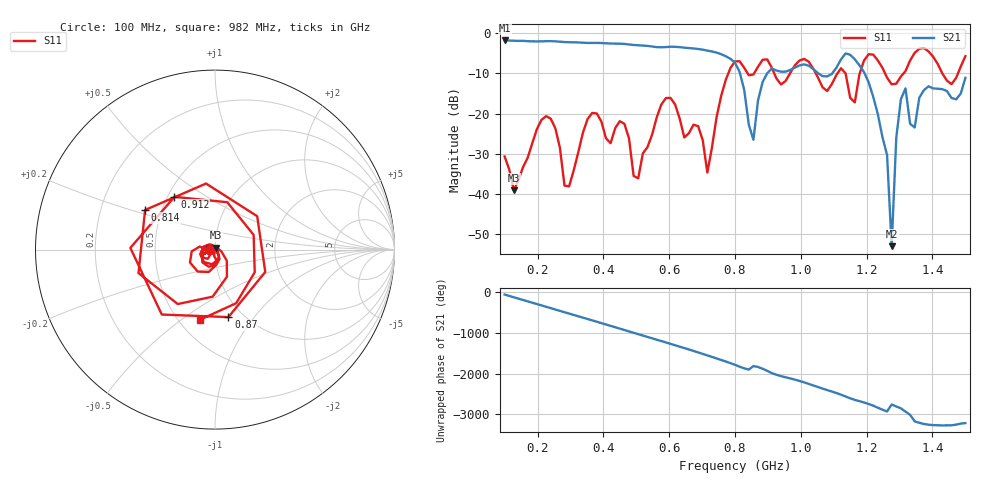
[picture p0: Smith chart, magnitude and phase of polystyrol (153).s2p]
! NanoVNA-App
! Date: 2025-09-25 15:31:05
! Start: 100MHz Stop: 1,5GHz Points: 101
! S-Parameter data: F S11 S21 S12 S22
# Hz S RI R 50
!  Frequency  S11_Real  S11_Imag  S21_Real  S21_Imag  S12_Real  S12_Imag  S22_Real  S22_Imag
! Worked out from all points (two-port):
!   101 points, 100 MHz to 1.5 GHz, reference 50 ohm
!   highest |S21| = -1.80 dB at 100 MHz (marker M1); lowest = -53.0 dB at 1.276 GHz (marker M2)
!   |S21| within 3 dB of the highest: start of sweep to 743 MHz
!   lowest |S11| = -39.1 dB at 128 MHz (marker M3), VSWR 1.02, Z = 50.3 + j1.06 ohm
!   |S11| at or under -10 dB: start of sweep to 779.7 MHz; 1.045 GHz to 1.111 GHz (66.08 MHz wide, 6.13 % of centre); 1.256 GHz to 1.312 GHz (56.23 MHz wide, 4.38 % of centre) (the widest 3 of 7)
!   S12 and S22 are empty: the file has one direction only
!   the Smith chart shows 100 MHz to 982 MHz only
!   S11 on the Smith chart (normalised r, x): 100 MHz: 0.94, -0.01; 814 MHz: 0.40, +0.22; 870 MHz: 0.86, -0.75; 912 MHz: 0.54, +0.37; 982 MHz: 0.64, -0.59
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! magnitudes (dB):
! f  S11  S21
! 100 MHz  -30.7  -1.8
! 128 MHz  -39.1  -1.9
! 212 MHz  -21.6  -2.0
! 282 MHz  -38.0  -2.2
! 338 MHz  -24.7  -2.4
! 506 MHz  -36.1  -3.0
! 576 MHz  -17.8  -3.5
! 716 MHz  -34.7  -4.3
! 800 MHz  -7.0  -7.4
! 814 MHz  -7.0  -9.6
! 856 MHz  -10.3  -26.5
! 870 MHz  -8.3  -16.7
! 912 MHz  -8.6  -8.8
! 982 MHz  -8.0  -8.6
! 1.038 GHz  -8.9  -8.9
! 1.164 GHz  -17.2  -6.5
! 1.206 GHz  -5.2  -12.2
! 1.262 GHz  -11.1  -30.3
! 1.276 GHz  -12.7  -53.0
! 1.29 GHz  -12.6  -26.0
! 1.318 GHz  -9.4  -13.7
! 1.5 GHz  -5.7  -11.1
